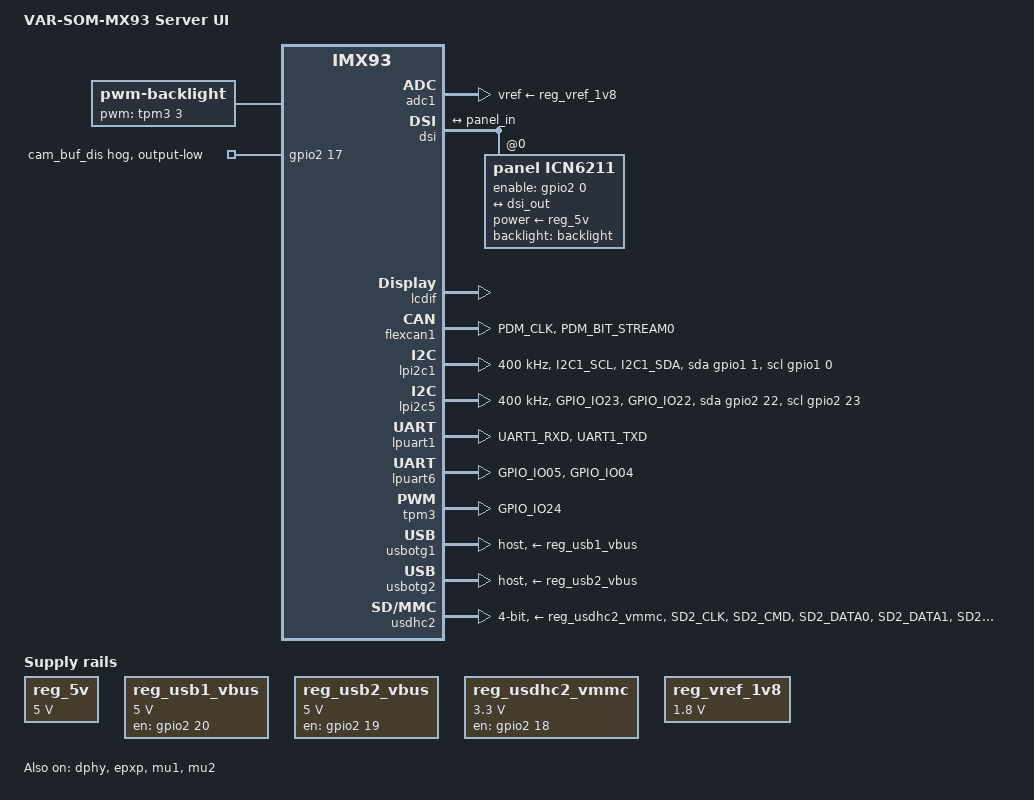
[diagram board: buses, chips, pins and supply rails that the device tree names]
// SPDX-License-Identifier: (GPL-2.0+ OR MIT)
/*
 * Copyright 2022 NXP
 * Copyright 2023 Variscite Ltd.
 */

/dts-v1/;

#include "imx93-var-som.dtsi"

/ {
	model = "VAR-SOM-MX93 Server UI";

	aliases {
		ethernet0 = &eqos;
		ethernet1 = &fec;
	};

	chosen {
		stdout-path = &lpuart1;
	};

	cm33: imx93-cm33 {
		compatible = "fsl,imx93-cm33";
		mbox-names = "tx", "rx", "rxdb";
		mboxes = <&mu1 0 1
			  &mu1 1 1
			  &mu1 3 1>;
		memory-region = <&vdevbuffer>, <&vdev0vring0>, <&vdev0vring1>,
				<&vdev1vring0>, <&vdev1vring1>, <&rsc_table>;
		fsl,startup-delay-ms = <500>;
	};

	ethosu {
		compatible = "arm,ethosu";
		fsl,cm33-proc = <&cm33>;
		memory-region = <&ethosu_mem>;
		power-domains = <&mlmix>;
		status = "disabled";
	};

	reg_5v: reg_5v {
		compatible = "regulator-fixed";
		regulator-name = "fixed-supply-5v";
		regulator-min-microvolt = <5000000>;
		regulator-max-microvolt = <5000000>;
	};

	backlight: backlight {
		compatible = "pwm-backlight";
		pwms = <&tpm3 3 1000000 0>;
		brightness-levels = < 0  1  2  3  4  5  6  7  8  9
				     10 11 12 13 14 15 16 17 18 19
				     20 21 22 23 24 25 26 27 28 29
				     30 31 32 33 34 35 36 37 38 39
				     40 41 42 43 44 45 46 47 48 49
				     50 51 52 53 54 55 56 57 58 59
				     60 61 62 63 64 65 66 67 68 69
				     70 71 72 73 74 75 76 77 78 79
				     80 81 82 83 84 85 86 87 88 89
				     90 91 92 93 94 95 96 97 98 99
				    100>;
		default-brightness-level = <80>;
		status = "okay";
	};

	reg_usb1_vbus: regulator_vbus1 {
		compatible = "regulator-fixed";
		regulator-name = "usb1_vbus_regulator";
		regulator-min-microvolt = <5000000>;
		regulator-max-microvolt = <5000000>;
		gpio = <&gpio2 20 GPIO_ACTIVE_HIGH>;
		enable-active-high;
	};

	reg_usb2_vbus: regulator_vbus2 {
		compatible = "regulator-fixed";
		regulator-name = "usb2_vbus_regulator";
		regulator-min-microvolt = <5000000>;
		regulator-max-microvolt = <5000000>;
		gpio = <&gpio2 19 GPIO_ACTIVE_HIGH>;
		enable-active-high;
	};

	reg_usdhc2_vmmc: regulator-usdhc2 {
		compatible = "regulator-fixed";
		pinctrl-names = "default";
		pinctrl-0 = <&pinctrl_reg_usdhc2_vmmc>;
		regulator-name = "VSD_3V3";
		regulator-min-microvolt = <3300000>;
		regulator-max-microvolt = <3300000>;
		gpio = <&gpio2 18 GPIO_ACTIVE_HIGH>;
		enable-active-high;
	};

	reg_vref_1v8: regulator-adc-vref {
		compatible = "regulator-fixed";
		regulator-name = "vref_1v8";
		regulator-min-microvolt = <1800000>;
		regulator-max-microvolt = <1800000>;
	};

	reserved-memory {
		#address-cells = <2>;
		#size-cells = <2>;
		ranges;

		linux,cma {
			compatible = "shared-dma-pool";
			reusable;
			size = <0 0x4000000>;
			linux,cma-default;
		};

		ethosu_mem: ethosu_region@88000000 {
			compatible = "shared-dma-pool";
			reusable;
			reg = <0x0 0x88000000 0x0 0x8000000>;
		};

		vdev0vring0: vdev0vring0@87ee0000 {
			reg = <0 0x87ee0000 0 0x8000>;
			no-map;
		};

		vdev0vring1: vdev0vring1@87ee8000 {
			reg = <0 0x87ee8000 0 0x8000>;
			no-map;
		};

		vdev1vring0: vdev1vring0@87ef0000 {
			reg = <0 0x87ef0000 0 0x8000>;
			no-map;
		};

		vdev1vring1: vdev1vring1@87ef8000 {
			reg = <0 0x87ef8000 0 0x8000>;
			no-map;
		};

		rsc_table: rsc_table@2021f000 {
			reg = <0 0x2021f000 0 0x1000>;
			no-map;
		};

		vdevbuffer: vdevbuffer@87f00000 {
			compatible = "shared-dma-pool";
			reg = <0 0x87f00000 0 0x100000>;
			no-map;
		};
	};
};

&adc1 {
	vref-supply = <&reg_vref_1v8>;
	status = "okay";
};

/* Use external instead of internal RTC*/
&bbnsm_rtc {
	status = "disabled";
};

&dsi {
	#address-cells = <1>;
	#size-cells = <0>;
	status = "okay";

	panel@0 {
		compatible = "panel,icn6211";
		reg = <0>;
		power-supply = <&reg_5v>;
		backlight = <&backlight>;
		enable-gpio = <&gpio2 0 GPIO_ACTIVE_HIGH>;

		port {
			panel_in: endpoint {
				remote-endpoint = <&dsi_out>;
			};
		};
	};

	ports {
		port@1 {
			reg = <1>;

			dsi_out: endpoint {
				remote-endpoint = <&panel_in>;
			};
		};
	};
};

&dphy {
	status = "okay";
};

&lcdif {
	status = "okay";
	assigned-clock-rates = <498000000>, <71142857>, <400000000>, <133333333>;
};

&epxp {
	status = "okay";
};

&eqos {
	status = "disabled";
};

&fec {
	status = "disabled";
};

&flexcan1 {
	pinctrl-names = "default";
	pinctrl-0 = <&pinctrl_flexcan1>;
	status = "okay";
};

&gpio2 {
	cam_buf_hog {
		gpio-hog;
		gpios = <17 0>;
		output-low;
		line-name = "cam_buf_dis";
	};
};

&iomuxc {
	pinctrl_captouch: captouchgrp {
		fsl,pins = <
			MX93_PAD_GPIO_IO25__GPIO2_IO25			0x31e
		>;
	};

	pinctrl_extcon: extcongrp {
		fsl,pins = <
			MX93_PAD_PDM_BIT_STREAM1__GPIO1_IO10	0x31e
		>;
	};

	pinctrl_fec: fecgrp {
		fsl,pins = <
			MX93_PAD_ENET2_RD0__ENET1_RGMII_RD0		0x57e
			MX93_PAD_ENET2_RD1__ENET1_RGMII_RD1		0x57e
			MX93_PAD_ENET2_RD2__ENET1_RGMII_RD2		0x57e
			MX93_PAD_ENET2_RD3__ENET1_RGMII_RD3		0x57e
			MX93_PAD_ENET2_RXC__ENET1_RGMII_RXC		0x5fe
			MX93_PAD_ENET2_RX_CTL__ENET1_RGMII_RX_CTL	0x57e
			MX93_PAD_ENET2_TD0__ENET1_RGMII_TD0		0x57e
			MX93_PAD_ENET2_TD1__ENET1_RGMII_TD1		0x57e
			MX93_PAD_ENET2_TD2__ENET1_RGMII_TD2		0x57e
			MX93_PAD_ENET2_TD3__ENET1_RGMII_TD3		0x57e
			MX93_PAD_ENET2_TXC__ENET1_RGMII_TXC		0x5fe
			MX93_PAD_ENET2_TX_CTL__ENET1_RGMII_TX_CTL	0x57e
		>;
	};

	pinctrl_flexcan1: flexcan1grp {
		fsl,pins = <
			MX93_PAD_PDM_CLK__CAN1_TX                       0x139e
			MX93_PAD_PDM_BIT_STREAM0__CAN1_RX               0x139e
		>;
	};

	pinctrl_lpi2c1: lpi2c1grp {
		fsl,pins = <
			MX93_PAD_I2C1_SCL__LPI2C1_SCL			0x40000b9e
			MX93_PAD_I2C1_SDA__LPI2C1_SDA			0x40000b9e
		>;
	};

	pinctrl_lpi2c1_gpio: lpi2c1grp-gpio {
		fsl,pins = <
			MX93_PAD_I2C1_SCL__GPIO1_IO00			0x31e
			MX93_PAD_I2C1_SDA__GPIO1_IO01			0x31e
		>;
	};

	pinctrl_lpi2c5: lpi2c5grp {
		fsl,pins = <
			MX93_PAD_GPIO_IO23__LPI2C5_SCL			0x40000b9e
			MX93_PAD_GPIO_IO22__LPI2C5_SDA			0x40000b9e
		>;
	};

	pinctrl_lpi2c5_gpio: lpi2c5grp-gpio {
		fsl,pins = <
			MX93_PAD_GPIO_IO23__GPIO2_IO23			0x31e
			MX93_PAD_GPIO_IO22__GPIO2_IO22			0x31e
		>;
	};


	pinctrl_uart1: uart1grp {
		fsl,pins = <
			MX93_PAD_UART1_RXD__LPUART1_RX			0x31e
			MX93_PAD_UART1_TXD__LPUART1_TX			0x31e
		>;
	};

	pinctrl_uart6: uart6grp {
		fsl,pins = <
			MX93_PAD_GPIO_IO05__LPUART6_RX			0x31e
			MX93_PAD_GPIO_IO04__LPUART6_TX			0x31e
		>;
	};

	pinctrl_uart7: uart7grp {
		fsl,pins = <
			MX93_PAD_GPIO_IO09__LPUART7_RX			0x31e
			MX93_PAD_GPIO_IO08__LPUART7_TX			0x31e
		>;
	};

	pinctrl_reg_usdhc2_vmmc: regusdhc2vmmcgrp {
		fsl,pins = <
			MX93_PAD_GPIO_IO18__GPIO2_IO18		0x31e
		>;
	};

	pinctrl_lpspi6: lpspi6grp {
		fsl,pins = <
			MX93_PAD_GPIO_IO00__GPIO2_IO00			0x31e
			MX93_PAD_GPIO_IO01__LPSPI6_SIN			0x31e
			MX93_PAD_GPIO_IO02__LPSPI6_SOUT			0x31e
			MX93_PAD_GPIO_IO03__LPSPI6_SCK			0x31e
		>;
	};

	pinctrl_tpm3: tpm3grp {
		fsl,pins = <
			MX93_PAD_GPIO_IO24__TPM3_CH3		0x51e
		>;
	};

	pinctrl_usdhc2: usdhc2grp {
		fsl,pins = <
			MX93_PAD_SD2_CLK__USDHC2_CLK		0x15fe
			MX93_PAD_SD2_CMD__USDHC2_CMD		0x13fe
			MX93_PAD_SD2_DATA0__USDHC2_DATA0	0x13fe
			MX93_PAD_SD2_DATA1__USDHC2_DATA1	0x13fe
			MX93_PAD_SD2_DATA2__USDHC2_DATA2	0x13fe
			MX93_PAD_SD2_DATA3__USDHC2_DATA3	0x13fe
			MX93_PAD_SD2_VSELECT__USDHC2_VSELECT	0x51e
		>;
	};

	pinctrl_usdhc2_gpio: usdhc2gpiogrp {
		fsl,pins = <
			MX93_PAD_SD2_CD_B__GPIO3_IO00		0x31e
		>;
	};
};

&lpi2c1 {
	#address-cells = <1>;
	#size-cells = <0>;
	clock-frequency = <400000>;
	pinctrl-names = "default", "sleep", "gpio";
	pinctrl-0 = <&pinctrl_lpi2c1>;
	pinctrl-1 = <&pinctrl_lpi2c1_gpio>;
	pinctrl-2 = <&pinctrl_lpi2c1_gpio>;
	scl-gpios = <&gpio1 0 GPIO_ACTIVE_HIGH>;
	sda-gpios = <&gpio1 1 GPIO_ACTIVE_HIGH>;
	status = "okay";

};

&lpi2c5 {
	#address-cells = <1>;
	#size-cells = <0>;
	clock-frequency = <400000>;
	pinctrl-names = "default", "sleep", "gpio";
	pinctrl-0 = <&pinctrl_lpi2c5>;
	pinctrl-1 = <&pinctrl_lpi2c5_gpio>;
	pinctrl-2 = <&pinctrl_lpi2c5_gpio>;
	scl-gpios = <&gpio2 23 GPIO_ACTIVE_HIGH>;
	sda-gpios = <&gpio2 22 GPIO_ACTIVE_HIGH>;
	status = "okay";
};

/* Console */
&lpuart1 {
	pinctrl-names = "default";
	pinctrl-0 = <&pinctrl_uart1>;
	status = "okay";
};

/* J18.7, J18.9 */
&lpuart6 {
	pinctrl-names = "default";
	pinctrl-0 = <&pinctrl_uart6>;
	status = "okay";
};

/* J18.3, J18.5 - used by M33 firmware */
&lpuart7 {
	pinctrl-names = "default";
	pinctrl-0 = <&pinctrl_uart7>;
	status = "disabled";
};

&mu1 {
	status = "okay";
};

&mu2 {
	status = "okay";
};

&tpm3 {
	pinctrl-0 = <&pinctrl_tpm3>;
	pinctrl-names = "default";
	status = "okay";
};

&usbotg1 {
	dr_mode = "host";
    vbus-supply = <&reg_usb1_vbus>;
	picophy,pre-emp-curr-control = <3>;
	picophy,dc-vol-level-adjust = <7>;
	hnp-disable;
	srp-disable;
	adp-disable;
	usb-role-switch;
	status = "okay";

};

&usbotg2 {
	disable-over-current;
    vbus-supply = <&reg_usb2_vbus>;
	dr_mode = "host";
	status = "okay";
};


/* SD */
&usdhc2 {
	pinctrl-names = "default", "state_100mhz", "state_200mhz";
	pinctrl-0 = <&pinctrl_usdhc2>, <&pinctrl_usdhc2_gpio>;
	pinctrl-1 = <&pinctrl_usdhc2>, <&pinctrl_usdhc2_gpio>;
	pinctrl-2 = <&pinctrl_usdhc2>, <&pinctrl_usdhc2_gpio>;
	cd-gpios = <&gpio3 00 GPIO_ACTIVE_LOW>;
	vmmc-supply = <&reg_usdhc2_vmmc>;
	bus-width = <4>;
	status = "okay";
	no-sdio;
	no-mmc;
};

&lpspi8 {
	status = "disabled";
};
